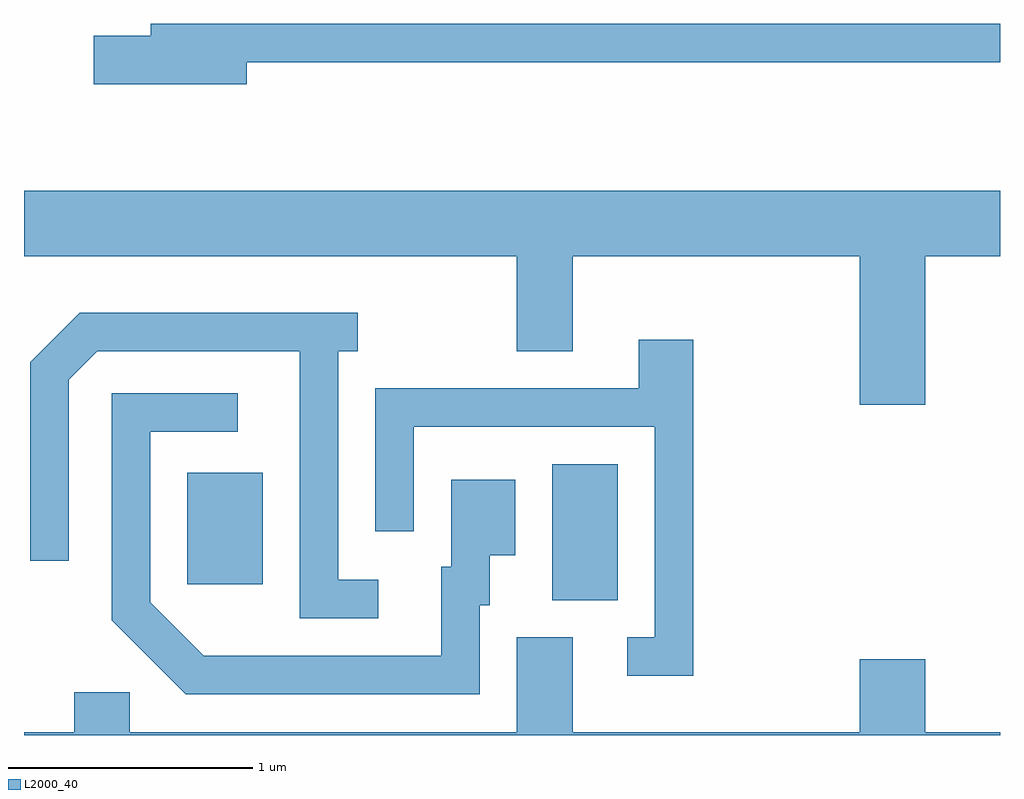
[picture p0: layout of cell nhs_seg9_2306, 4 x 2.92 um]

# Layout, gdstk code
import gdstk
lib = gdstk.Library(unit=1e-6, precision=1e-09)
def R(c, l, rs):  # rectangles x0, y0, x1, y1
    for r in rs: c.add(gdstk.rectangle(r[:2], r[2:], *l))
def P(c, l, *ps):  # polygons
    for p in ps: c.add(gdstk.Polygon(p, *l))
L2000_40 = (2000, 40)

nhs_seg9_2306 = lib.new_cell('nhs_seg9_2306')
R(nhs_seg9_2306, L2000_40, [(253.776,2076.986,254.044,2077.544), (252.281,2077.051,252.589,2077.509)])
P(nhs_seg9_2306, L2000_40, [(252.524,2079.191),(255.611,2079.191),(255.611,2079.349),(252.131,2079.349),(252.131,2079.299),(251.896,2079.299),(251.896,2079.101),(252.524,2079.101)],
  [(255.304,2078.396),(255.611,2078.396),(255.611,2078.664),(251.611,2078.664),(251.611,2078.396),(253.631,2078.396),(253.631,2078.006),(253.859,2078.006),(253.859,2078.396),(255.036,2078.396),(255.036,2077.786),(255.304,2077.786)],
  [(253.063,2077.069),(252.899,2077.069),(252.899,2078.006),(252.978,2078.006),(252.978,2078.164),(251.839,2078.164),(251.636,2077.962),(251.636,2077.148),(251.794,2077.148),(251.794,2077.889),(251.912,2078.006),(252.741,2078.006),(252.741,2076.911),(253.063,2076.911)],
  [(254.354,2078.054),(254.131,2078.054),(254.131,2077.854),(253.051,2077.854),(253.051,2077.268),(253.209,2077.268),(253.209,2077.696),(254.196,2077.696),(254.196,2076.834),(254.083,2076.834),(254.083,2076.676),(254.354,2076.676)],
  [(253.479,2076.966),(253.519,2076.966),(253.519,2077.171),(253.624,2077.171),(253.624,2077.479),(253.361,2077.479),(253.361,2077.124),(253.321,2077.124),(253.321,2076.759),(252.347,2076.759),(252.129,2076.977),(252.129,2077.676),(252.488,2077.676),(252.488,2077.834),(251.971,2077.834),(251.971,2076.904),(252.274,2076.601),(253.479,2076.601)],
  [(255.611,2076.444),(255.304,2076.444),(255.304,2076.744),(255.036,2076.744),(255.036,2076.444),(253.859,2076.444),(253.859,2076.834),(253.631,2076.834),(253.631,2076.444),(252.044,2076.444),(252.044,2076.609),(251.816,2076.609),(251.816,2076.444),(251.611,2076.444),(251.611,2076.432),(255.611,2076.432)])

lib.write_gds('nhs_seg9_2306.gds')
